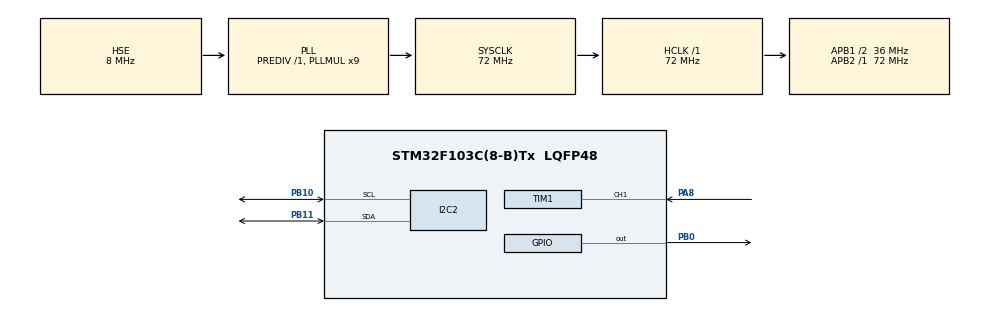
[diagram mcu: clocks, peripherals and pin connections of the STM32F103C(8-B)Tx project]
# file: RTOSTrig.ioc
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FREERTOS.Tasks01=defaultTask,0,128,StartDefaultTask,Default,NULL,Dynamic,NULL,NULL;myTask02,-3,128,StartTask02,Default,NULL,Dynamic,NULL,NULL;myTask03,-3,128,StartTask03,Default,NULL,Dynamic,NULL,NULL;myTask04,-3,128,StartTask04,Default,NULL,Dynamic,NULL,NULL
Mcu.Family=STM32F1
Mcu.Name=STM32F103C(8-B)Tx
Mcu.Package=LQFP48
NVIC.PriorityGroup=NVIC_PRIORITYGROUP_4
NVIC.TIM1_UP_IRQn=true\:6\:0\:true\:false\:true\:true\:true\:true\:true
NVIC.TIM4_IRQn=true\:1\:0\:true\:false\:true\:false\:false\:true\:true
NVIC.TimeBase=TIM4_IRQn
NVIC.TimeBaseIP=TIM4
PA13.Mode=Serial_Wire
PA13.Signal=SYS_JTMS-SWDIO
PA14.Mode=Serial_Wire
PA14.Signal=SYS_JTCK-SWCLK
PA8.Signal=S_TIM1_CH1
PB0.Signal=GPIO_Output
PB10.Mode=I2C
PB10.Signal=I2C2_SCL
PB11.Mode=I2C
PB11.Signal=I2C2_SDA
PD0-OSC_IN.Mode=HSE-External-Oscillator
PD0-OSC_IN.Signal=RCC_OSC_IN
PD1-OSC_OUT.Mode=HSE-External-Oscillator
PD1-OSC_OUT.Signal=RCC_OSC_OUT
ProjectManager.HeapSize=0x200
ProjectManager.StackSize=0x400
ProjectManager.TargetToolchain=MDK-ARM V5.32
RCC.AHBFreq_Value=72000000
RCC.APB1CLKDivider=RCC_HCLK_DIV2
RCC.APB1Freq_Value=36000000
RCC.APB1TimFreq_Value=72000000
RCC.APB2Freq_Value=72000000
RCC.APB2TimFreq_Value=72000000
RCC.HCLKFreq_Value=72000000
RCC.PLLMUL=RCC_PLL_MUL9
RCC.PLLSourceVirtual=RCC_PLLSOURCE_HSE
RCC.SYSCLKFreq_VALUE=72000000
RCC.SYSCLKSource=RCC_SYSCLKSOURCE_PLLCLK
RCC.USBFreq_Value=72000000
SH.S_TIM1_CH1.0=TIM1_CH1,Input_Capture1_from_TI1
TIM1.Channel-Input_Capture1_from_TI1=TIM_CHANNEL_1
TIM1.Channel-Input_Capture2_from_TI1_63=TIM_CHANNEL_2
TIM1.ICPolarity_CH2=TIM_INPUTCHANNELPOLARITY_FALLING
TIM1.Period=10000-1
TIM1.Prescaler=72-1
VP_FREERTOS_VS_CMSIS_V1.Mode=CMSIS_V1
VP_SYS_VS_tim4.Mode=TIM4
VP_TIM1_VS_ClockSourceINT.Mode=Internal
VP_TIM1_VS_indirect_ch1.Mode=Input_Capture2_from_TI1_63
board=custom

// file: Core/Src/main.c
/* USER CODE BEGIN Header */
/**
  ******************************************************************************
  * @file           : main.c
  * @brief          : Main program body
  ******************************************************************************
  * @attention
  *
  * Copyright (c) 2025 STMicroelectronics.
  * All rights reserved.
  *
  * This software is licensed under terms that can be found in the LICENSE file
  * in the root directory of this software component.
  * If no LICENSE file comes with this software, it is provided AS-IS.
  *
  ******************************************************************************
  */
/* USER CODE END Header */
#include "main.h"
#include "cmsis_os.h"
#include "i2c.h"
#include "tim.h"
#include "gpio.h"

void SystemClock_Config(void);
void MX_FREERTOS_Init(void);

int main(void)
{

  /* MCU Configuration--------------------------------------------------------*/

  /* Reset of all peripherals, Initializes the Flash interface and the Systick. */
  HAL_Init();

  /* Configure the system clock */
  SystemClock_Config();

  /* Initialize all configured peripherals */
  MX_GPIO_Init();
  MX_I2C2_Init();
  MX_TIM1_Init();
  /* USER CODE BEGIN 2 */

  HAL_Delay(50);
  OLED_Init();
  /* USER CODE END 2 */

  /* Call init function for freertos objects (in cmsis_os2.c) */
  MX_FREERTOS_Init();

  /* Start scheduler */
  osKernelStart();

  /* We should never get here as control is now taken by the scheduler */

  /* Infinite loop */
  while (1)
  {

  }
}

void SystemClock_Config(void)
{
  RCC_OscInitTypeDef RCC_OscInitStruct = {0};
  RCC_ClkInitTypeDef RCC_ClkInitStruct = {0};

  /** Initializes the RCC Oscillators according to the specified parameters
  * in the RCC_OscInitTypeDef structure.
  */
  RCC_OscInitStruct.OscillatorType = RCC_OSCILLATORTYPE_HSE;
  RCC_OscInitStruct.HSEState = RCC_HSE_ON;
  RCC_OscInitStruct.HSEPredivValue = RCC_HSE_PREDIV_DIV1;
  RCC_OscInitStruct.HSIState = RCC_HSI_ON;
  RCC_OscInitStruct.PLL.PLLState = RCC_PLL_ON;
  RCC_OscInitStruct.PLL.PLLSource = RCC_PLLSOURCE_HSE;
  RCC_OscInitStruct.PLL.PLLMUL = RCC_PLL_MUL9;
  if (HAL_RCC_OscConfig(&RCC_OscInitStruct) != HAL_OK)
  {
    Error_Handler();
  }

  /** Initializes the CPU, AHB and APB buses clocks
  */
  RCC_ClkInitStruct.ClockType = RCC_CLOCKTYPE_HCLK|RCC_CLOCKTYPE_SYSCLK
                              |RCC_CLOCKTYPE_PCLK1|RCC_CLOCKTYPE_PCLK2;
  RCC_ClkInitStruct.SYSCLKSource = RCC_SYSCLKSOURCE_PLLCLK;
  RCC_ClkInitStruct.AHBCLKDivider = RCC_SYSCLK_DIV1;
  RCC_ClkInitStruct.APB1CLKDivider = RCC_HCLK_DIV2;
  RCC_ClkInitStruct.APB2CLKDivider = RCC_HCLK_DIV1;

  if (HAL_RCC_ClockConfig(&RCC_ClkInitStruct, FLASH_LATENCY_2) != HAL_OK)
  {
    Error_Handler();
  }
}

void HAL_TIM_PeriodElapsedCallback(TIM_HandleTypeDef *htim)
{
  if (htim->Instance == TIM4)
  {
    HAL_IncTick();
  }
}

void Error_Handler(void)
{
  __disable_irq();
  while (1)
  {
  }
}

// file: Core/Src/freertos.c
/* USER CODE BEGIN Header */
/**
  ******************************************************************************
  * File Name          : freertos.c
  * Description        : Code for freertos applications
  ******************************************************************************
  * @attention
  *
  * Copyright (c) 2025 STMicroelectronics.
  * All rights reserved.
  *
  * This software is licensed under terms that can be found in the LICENSE file
  * in the root directory of this software component.
  * If no LICENSE file comes with this software, it is provided AS-IS.
  *
  ******************************************************************************
  */
/* USER CODE END Header */

#include "FreeRTOS.h"
#include "task.h"
#include "main.h"
#include "cmsis_os.h"

/* USER CODE BEGIN Includes */

#include "oled.h"
#include "font.h"
#include "math.h"

/* USER CODE END Includes */

osThreadId defaultTaskHandle;
osThreadId myTask02Handle;
osThreadId myTask03Handle;
osThreadId myTask04Handle;

void StartDefaultTask(void const * argument);
void StartTask02(void const * argument);
void StartTask03(void const * argument);
void StartTask04(void const * argument);

void MX_FREERTOS_Init(void); /* (MISRA C 2004 rule 8.1) */

/* GetIdleTaskMemory prototype (linked to static allocation support) */
void vApplicationGetIdleTaskMemory( StaticTask_t **ppxIdleTaskTCBBuffer, StackType_t **ppxIdleTaskStackBuffer, uint32_t *pulIdleTaskStackSize );

/* USER CODE BEGIN GET_IDLE_TASK_MEMORY */
static StaticTask_t xIdleTaskTCBBuffer;
static StackType_t xIdleStack[configMINIMAL_STACK_SIZE];

void vApplicationGetIdleTaskMemory( StaticTask_t **ppxIdleTaskTCBBuffer, StackType_t **ppxIdleTaskStackBuffer, uint32_t *pulIdleTaskStackSize )
{
  *ppxIdleTaskTCBBuffer = &xIdleTaskTCBBuffer;
  *ppxIdleTaskStackBuffer = &xIdleStack[0];
  *pulIdleTaskStackSize = configMINIMAL_STACK_SIZE;
  /* place for user code */
}
/* USER CODE END GET_IDLE_TASK_MEMORY */

void MX_FREERTOS_Init(void) {

  /* Create the thread(s) */
  /* definition and creation of defaultTask */
  osThreadDef(defaultTask, StartDefaultTask, osPriorityNormal, 0, 128);
  defaultTaskHandle = osThreadCreate(osThread(defaultTask), NULL);

  /* definition and creation of myTask02 */
  osThreadDef(myTask02, StartTask02, osPriorityIdle, 0, 128);
  myTask02Handle = osThreadCreate(osThread(myTask02), NULL);

  /* definition and creation of myTask03 */
  osThreadDef(myTask03, StartTask03, osPriorityIdle, 0, 128);
  myTask03Handle = osThreadCreate(osThread(myTask03), NULL);

  /* definition and creation of myTask04 */
  osThreadDef(myTask04, StartTask04, osPriorityIdle, 0, 128);
  myTask04Handle = osThreadCreate(osThread(myTask04), NULL);

}

void StartDefaultTask(void const * argument)
{
  for(;;)
  {
    osDelay(1);
  }
}

void StartTask02(void const * argument)
{
  /* USER CODE BEGIN StartTask02 */
  /* Infinite loop */
  for(;;)
  {
    for(int i = 0; i < 90; i++) {
        OLED_NewFrame();
        OLED_DrawLine((int)(64.0 - 62*(cos(i*3.14/90))),(int)(62.0-62*(sin(i*3.14/90))),64, 62, OLED_COLOR_NORMAL);
        OLED_ShowFrame();
        vTaskDelay(10);
    }
    for(int i = 90; i >=0; i--) {
        OLED_NewFrame();
        OLED_DrawLine((int)(64.0 - 62*(cos(i*3.14/90))),(int)(62.0-62*(sin(i*3.14/90))),64, 62, OLED_COLOR_NORMAL);
        OLED_ShowFrame();
        vTaskDelay(10);
    }
    vTaskDelay(1000); // Delay for 1 second
  }
  /* USER CODE END StartTask02 */
}

void StartTask03(void const * argument)
{
  for(;;)
  {
    osDelay(1);
  }
}

void StartTask04(void const * argument)
{
  for(;;)
  {
    osDelay(1);
  }
}
